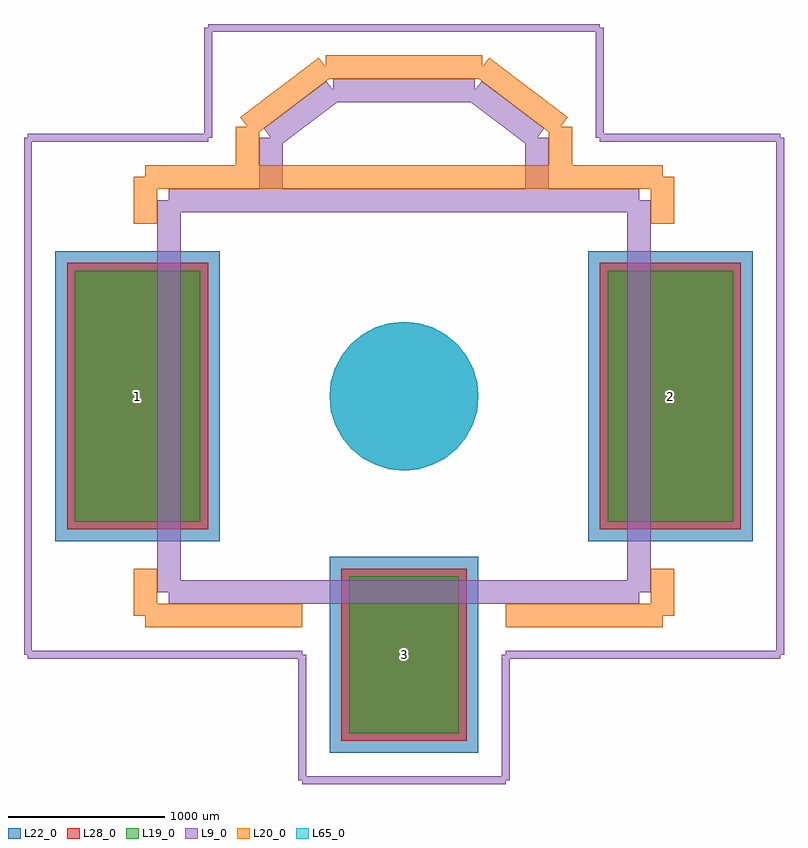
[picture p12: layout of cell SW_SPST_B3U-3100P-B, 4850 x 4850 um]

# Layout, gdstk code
import gdstk
lib = gdstk.Library(unit=1e-6, precision=1e-09)
def R(c, l, rs):  # rectangles x0, y0, x1, y1
    for r in rs: c.add(gdstk.rectangle(r[:2], r[2:], *l))
def P(c, l, *ps):  # polygons
    for p in ps: c.add(gdstk.Polygon(p, *l))
L9_0 = (9, 0)
L19_0 = (19, 0)
L20_0 = (20, 0)
L22_0 = (22, 0)
L28_0 = (28, 0)
L65_0 = (65, 0)

sw_spst_b3u_3100p_b = lib.new_cell('SW_SPST_B3U-3100P-B')
R(sw_spst_b3u_3100p_b, L19_0, [(-350,-2150,350,-1150), (-2100,-800,-1300,800), (1300,-800,2100,800)])
R(sw_spst_b3u_3100p_b, L22_0, [(-475,-2275,475,-1025), (-2225,-925,-1175,925), (1175,-925,2225,925)])
P(sw_spst_b3u_3100p_b, L22_0, [(475,0),(465.873,92.668),(438.843,181.775),(394.948,263.896),(335.876,335.876),(263.896,394.948),(181.775,438.843),(92.668,465.873),(0,475),(-92.668,465.873),(-181.775,438.843),(-263.896,394.948),(-335.876,335.876),(-394.948,263.896),(-438.843,181.775),(-465.873,92.668),(-475,0),(-465.873,-92.668),(-438.843,-181.775),(-394.948,-263.896),(-335.876,-335.876),(-263.896,-394.948),(-181.775,-438.843),(-92.668,-465.873),(0,-475),(92.668,-465.873),(181.775,-438.843),(263.896,-394.948),(335.876,-335.876),(394.948,-263.896),(438.843,-181.775),(465.873,-92.668)])
R(sw_spst_b3u_3100p_b, L28_0, [(-400,-2200,400,-1100), (-2150,-850,-1250,850), (1250,-850,2150,850)])
P(sw_spst_b3u_3100p_b, L65_0, [(475,0),(465.873,92.668),(438.843,181.775),(394.948,263.896),(335.876,335.876),(263.896,394.948),(181.775,438.843),(92.668,465.873),(0,475),(-92.668,465.873),(-181.775,438.843),(-263.896,394.948),(-335.876,335.876),(-394.948,263.896),(-438.843,181.775),(-465.873,92.668),(-475,0),(-465.873,-92.668),(-438.843,-181.775),(-394.948,-263.896),(-335.876,-335.876),(-263.896,-394.948),(-181.775,-438.843),(-92.668,-465.873),(0,-475),(92.668,-465.873),(181.775,-438.843),(263.896,-394.948),(335.876,-335.876),(394.948,-263.896),(438.843,-181.775),(465.873,-92.668)])
sw_spst_b3u_3100p_b.add(gdstk.FlexPath([(-1500,-1250),(-1500,1250)], 149.998, ends="flush", simple_path=True, layer=9, datatype=0))  # L9_0
sw_spst_b3u_3100p_b.add(gdstk.FlexPath([(1500,-1250),(-1500,-1250)], 149.998, ends="flush", simple_path=True, layer=9, datatype=0))  # L9_0
sw_spst_b3u_3100p_b.add(gdstk.FlexPath([(1500,1250),(1500,-1250)], 149.998, ends="flush", simple_path=True, layer=9, datatype=0))  # L9_0
sw_spst_b3u_3100p_b.add(gdstk.FlexPath([(-1500,1250),(1500,1250)], 149.998, ends="flush", simple_path=True, layer=9, datatype=0))  # L9_0
sw_spst_b3u_3100p_b.add(gdstk.FlexPath([(1650,1400),(1650,1100)], 149.998, ends="flush", simple_path=True, layer=20, datatype=0))  # L20_0
sw_spst_b3u_3100p_b.add(gdstk.FlexPath([(-1650,1400),(1650,1400)], 149.998, ends="flush", simple_path=True, layer=20, datatype=0))  # L20_0
sw_spst_b3u_3100p_b.add(gdstk.FlexPath([(-1650,1100),(-1650,1400)], 149.998, ends="flush", simple_path=True, layer=20, datatype=0))  # L20_0
sw_spst_b3u_3100p_b.add(gdstk.FlexPath([(1650,-1400),(1650,-1100)], 149.998, ends="flush", simple_path=True, layer=20, datatype=0))  # L20_0
sw_spst_b3u_3100p_b.add(gdstk.FlexPath([(1650,-1400),(650,-1400)], 149.998, ends="flush", simple_path=True, layer=20, datatype=0))  # L20_0
sw_spst_b3u_3100p_b.add(gdstk.FlexPath([(-1650,-1100),(-1650,-1400)], 149.998, ends="flush", simple_path=True, layer=20, datatype=0))  # L20_0
sw_spst_b3u_3100p_b.add(gdstk.FlexPath([(-2400,1650),(-2400,-1650)], 50, ends="flush", simple_path=True, layer=9, datatype=0))  # L9_0
sw_spst_b3u_3100p_b.add(gdstk.FlexPath([(-1250,1650),(-2400,1650)], 50, ends="flush", simple_path=True, layer=9, datatype=0))  # L9_0
sw_spst_b3u_3100p_b.add(gdstk.FlexPath([(2400,-1650),(2400,1650)], 50, ends="flush", simple_path=True, layer=9, datatype=0))  # L9_0
sw_spst_b3u_3100p_b.add(gdstk.FlexPath([(-2400,-1650),(-650,-1650)], 50, ends="flush", simple_path=True, layer=9, datatype=0))  # L9_0
sw_spst_b3u_3100p_b.add(gdstk.FlexPath([(-1650,-1400),(-650,-1400)], 149.998, ends="flush", simple_path=True, layer=20, datatype=0))  # L20_0
sw_spst_b3u_3100p_b.add(gdstk.FlexPath([(650,-1650),(2400,-1650)], 50, ends="flush", simple_path=True, layer=9, datatype=0))  # L9_0
sw_spst_b3u_3100p_b.add(gdstk.FlexPath([(650,-2450),(650,-1650)], 50, ends="flush", simple_path=True, layer=9, datatype=0))  # L9_0
sw_spst_b3u_3100p_b.add(gdstk.FlexPath([(-650,-2450),(650,-2450)], 50, ends="flush", simple_path=True, layer=9, datatype=0))  # L9_0
sw_spst_b3u_3100p_b.add(gdstk.FlexPath([(-650,-1650),(-650,-2450)], 50, ends="flush", simple_path=True, layer=9, datatype=0))  # L9_0
sw_spst_b3u_3100p_b.add(gdstk.FlexPath([(850,1650),(850,1250)], 149.998, ends="flush", simple_path=True, layer=9, datatype=0))  # L9_0
sw_spst_b3u_3100p_b.add(gdstk.FlexPath([(450,1950),(850,1650)], 149.998, ends="flush", simple_path=True, layer=9, datatype=0))  # L9_0
sw_spst_b3u_3100p_b.add(gdstk.FlexPath([(-450,1950),(450,1950)], 149.998, ends="flush", simple_path=True, layer=9, datatype=0))  # L9_0
sw_spst_b3u_3100p_b.add(gdstk.FlexPath([(-850,1650),(-450,1950)], 149.998, ends="flush", simple_path=True, layer=9, datatype=0))  # L9_0
sw_spst_b3u_3100p_b.add(gdstk.FlexPath([(-850,1250),(-850,1650)], 149.998, ends="flush", simple_path=True, layer=9, datatype=0))  # L9_0
sw_spst_b3u_3100p_b.add(gdstk.FlexPath([(1000,1720),(1000,1400)], 149.998, ends="flush", simple_path=True, layer=20, datatype=0))  # L20_0
sw_spst_b3u_3100p_b.add(gdstk.FlexPath([(500,2100),(1000,1720)], 149.998, ends="flush", simple_path=True, layer=20, datatype=0))  # L20_0
sw_spst_b3u_3100p_b.add(gdstk.FlexPath([(-500,2100),(500,2100)], 149.998, ends="flush", simple_path=True, layer=20, datatype=0))  # L20_0
sw_spst_b3u_3100p_b.add(gdstk.FlexPath([(-1000,1720),(-1000,1400)], 149.998, ends="flush", simple_path=True, layer=20, datatype=0))  # L20_0
sw_spst_b3u_3100p_b.add(gdstk.FlexPath([(-500,2100),(-1000,1720)], 149.998, ends="flush", simple_path=True, layer=20, datatype=0))  # L20_0
sw_spst_b3u_3100p_b.add(gdstk.FlexPath([(1250,1650),(2400,1650)], 50, ends="flush", simple_path=True, layer=9, datatype=0))  # L9_0
sw_spst_b3u_3100p_b.add(gdstk.FlexPath([(1250,2350),(1250,1650)], 50, ends="flush", simple_path=True, layer=9, datatype=0))  # L9_0
sw_spst_b3u_3100p_b.add(gdstk.FlexPath([(-1250,2350),(1250,2350)], 50, ends="flush", simple_path=True, layer=9, datatype=0))  # L9_0
sw_spst_b3u_3100p_b.add(gdstk.FlexPath([(-1250,1650),(-1250,2350)], 50, ends="flush", simple_path=True, layer=9, datatype=0))  # L9_0
sw_spst_b3u_3100p_b.add(gdstk.Label('3', (0,-1650), layer=28, texttype=0))
sw_spst_b3u_3100p_b.add(gdstk.Label('2', (1700,0), layer=28, texttype=0))
sw_spst_b3u_3100p_b.add(gdstk.Label('1', (-1700,0), layer=28, texttype=0))
sw_spst_b3u_3100p_b.add(gdstk.Label('type', (0,-3500), layer=9, texttype=0))
sw_spst_b3u_3100p_b.add(gdstk.Label('devicename', (0,3250), layer=9, texttype=0))

lib.write_gds('SW_SPST_B3U-3100P-B.gds')
